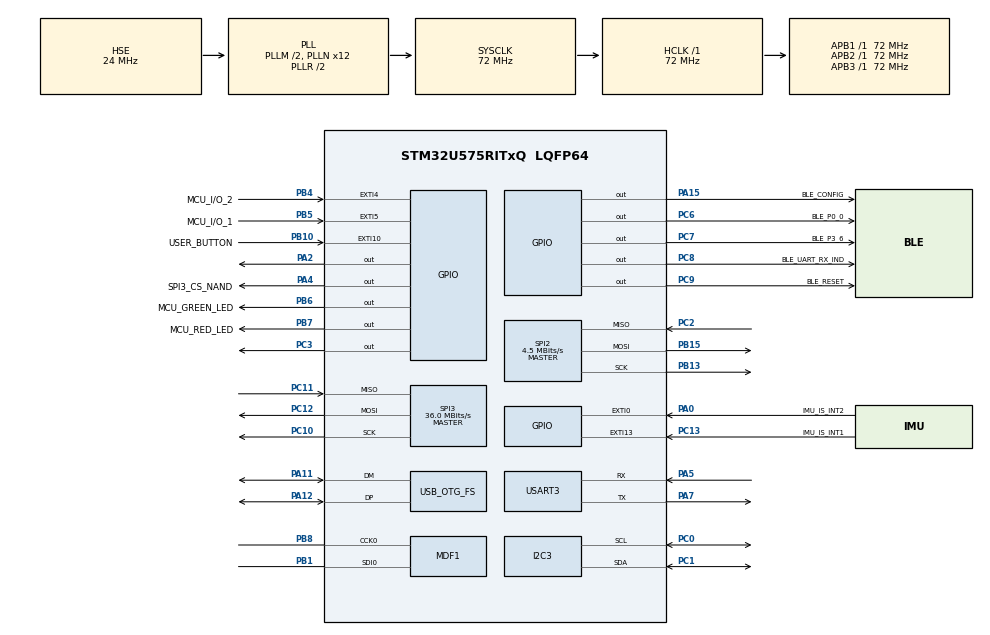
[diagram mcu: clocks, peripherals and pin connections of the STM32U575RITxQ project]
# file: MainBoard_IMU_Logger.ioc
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CORTEX_M33_NS.userName=CORTEX_M33
I2C3.Timing=0x10808DD3
MDF1.MDF_COMPARAM_ActivationClockTrigger=ENABLE
MDF1.MDF_COMPARAM_ActivationOutputClock=ENABLE
MDF1.MDF_COMPARAM_Divider=5
MDF1.MDF_COMPARAM_Pins=MDF_OUTPUT_CLOCK_ALL
MDF1.MDF_DFLT0_AcquisitionMode=MDF_MODE_SYNC_CONT
MDF1.MDF_DFLT0_CIC_Mode=MDF_ONE_FILTER_SINC5
MDF1.MDF_DFLT0_Decimation=16
MDF1.MDF_DFLT0_DiscardSamples=255
MDF1.MDF_DFLT0_Gain=1
MDF1.MDF_DFLT0_HighPassFilterActivation=ENABLE
MDF1.MDF_DFLT0_ReshapeFilterActivation=ENABLE
MDF1.MDF_SITF0_Mode_Display=MDF_SITF_NORMAL_SPI_MODE
MDF1.MDF_SITF0_Threshold=31
Mcu.Family=STM32U5
Mcu.Name=STM32U575RITxQ
Mcu.Package=LQFP64
NVIC.EXTI0_IRQn=true\:0\:0\:false\:false\:true\:true\:true\:true
NVIC.EXTI10_IRQn=true\:0\:0\:false\:false\:true\:true\:true\:true
NVIC.EXTI13_IRQn=true\:0\:0\:false\:false\:true\:true\:true\:true
NVIC.EXTI4_IRQn=true\:0\:0\:false\:false\:true\:true\:true\:true
NVIC.EXTI5_IRQn=true\:0\:0\:false\:false\:true\:true\:true\:true
NVIC.MDF1_FLT0_IRQn=true\:0\:0\:false\:false\:true\:true\:true\:true
NVIC.OTG_FS_IRQn=true\:0\:0\:false\:false\:true\:true\:true\:true
NVIC.PriorityGroup=NVIC_PRIORITYGROUP_4
NVIC.SPI2_IRQn=true\:0\:0\:false\:false\:true\:true\:true\:true
NVIC.SPI3_IRQn=true\:0\:0\:false\:false\:true\:true\:true\:true
NVIC.TIM2_IRQn=true\:2\:0\:true\:false\:true\:true\:true\:true
NVIC.USART3_IRQn=true\:0\:0\:false\:false\:true\:true\:true\:true
PA0.GPIO_Label=IMU_IS_INT2
PA0.Signal=GPXTI0
PA11.GPIO_Speed=GPIO_SPEED_FREQ_VERY_HIGH
PA11.Mode=Device_Only
PA11.Signal=USB_OTG_FS_DM
PA12.GPIO_Speed=GPIO_SPEED_FREQ_VERY_HIGH
PA12.Mode=Device_Only
PA12.Signal=USB_OTG_FS_DP
PA13\ (JTMS/SWDIO).Mode=Trace_Asynchronous_SW
PA13\ (JTMS/SWDIO).Signal=DEBUG_JTMS-SWDIO
PA14\ (JTCK/SWCLK).Mode=Trace_Asynchronous_SW
PA14\ (JTCK/SWCLK).Signal=DEBUG_JTCK-SWCLK
PA15\ (JTDI).GPIO_Label=BLE_CONFIG
PA15\ (JTDI).PinState=GPIO_PIN_SET
PA15\ (JTDI).Signal=GPIO_Output
PA2.Signal=GPIO_Output
PA4.GPIO_Label=SPI3_CS_NAND
PA4.Signal=GPIO_Output
PA5.Mode=Asynchronous
PA5.Signal=USART3_RX
PA7.Mode=Asynchronous
PA7.Signal=USART3_TX
PA9.Signal=USB_OTG_FS_VBUS
PB1.GPIO_Speed=GPIO_SPEED_FREQ_VERY_HIGH
PB1.Mode=MOD_MDF_SITF0_CCK0
PB1.Signal=MDF1_SDI0
PB10.GPIO_Label=USER_BUTTON
PB10.GPIO_ModeDefaultEXTI=GPIO_MODE_IT_RISING_FALLING
PB10.GPIO_PuPd=GPIO_PULLDOWN
PB10.Signal=GPXTI10
PB13.Mode=Full_Duplex_Master
PB13.Signal=SPI2_SCK
PB15.Mode=Full_Duplex_Master
PB15.Signal=SPI2_MOSI
PB3\ (JTDO/TRACESWO).Mode=Trace_Asynchronous_SW
PB3\ (JTDO/TRACESWO).Signal=DEBUG_JTDO-SWO
PB4\ (NJTRST).GPIO_Label=MCU_I/O_2
PB4\ (NJTRST).Signal=GPXTI4
PB5.GPIO_Label=MCU_I/O_1
PB5.Signal=GPXTI5
PB6.GPIO_Label=MCU_GREEN_LED
PB6.Signal=GPIO_Output
PB7.GPIO_Label=MCU_RED_LED
PB7.Signal=GPIO_Output
PB8.GPIO_FM8=SYSCFG_FASTMODEPLUS_PB8
PB8.GPIO_Speed=GPIO_SPEED_FREQ_VERY_HIGH
PB8.Mode=MOD_MDF_CCK0
PB8.Signal=MDF1_CCK0
PC0.Mode=I2C
PC0.Signal=I2C3_SCL
PC1.Mode=I2C
PC1.Signal=I2C3_SDA
PC10.Mode=Full_Duplex_Master
PC10.Signal=SPI3_SCK
PC11.Mode=Full_Duplex_Master
PC11.Signal=SPI3_MISO
PC12.Mode=Full_Duplex_Master
PC12.Signal=SPI3_MOSI
PC13.GPIO_Label=IMU_IS_INT1
PC13.Signal=GPXTI13
PC14-OSC32_IN\ (PC14).Mode=LSE-External-Oscillator
PC14-OSC32_IN\ (PC14).Signal=RCC_OSC32_IN
PC15-OSC32_OUT\ (PC15).Mode=LSE-External-Oscillator
PC15-OSC32_OUT\ (PC15).Signal=RCC_OSC32_OUT
PC2.Mode=Full_Duplex_Master
PC2.Signal=SPI2_MISO
PC3.Signal=GPIO_Output
PC6.GPIO_Label=BLE_P0_0
PC6.Signal=GPIO_Output
PC7.GPIO_Label=BLE_P3_6
PC7.Signal=GPIO_Output
PC8.GPIO_Label=BLE_UART_RX_IND
PC8.Signal=GPIO_Output
PC9.GPIO_Label=BLE_RESET
PC9.Signal=GPIO_Output
PH0-OSC_IN\ (PH0).Mode=HSE-External-Oscillator
PH0-OSC_IN\ (PH0).Signal=RCC_OSC_IN
PH1-OSC_OUT\ (PH1).Mode=HSE-External-Oscillator
PH1-OSC_OUT\ (PH1).Signal=RCC_OSC_OUT
ProjectManager.HeapSize=0x400
ProjectManager.StackSize=0x800
ProjectManager.TargetToolchain=CMake
RCC.ADCFreq_Value=16000000
RCC.AHBFreq_Value=72000000
RCC.APB1Freq_Value=72000000
RCC.APB1TimFreq_Value=72000000
RCC.APB2Freq_Value=72000000
RCC.APB2TimFreq_Value=72000000
RCC.APB3Freq_Value=72000000
RCC.CK48CLockSelection=RCC_CLK48CLKSOURCE_PLL1
RCC.CortexFreq_Value=72000000
RCC.EPOD_VALUE=24000000
RCC.HCLKFreq_Value=72000000
RCC.HSE_VALUE=24000000
RCC.HSI48_VALUE=48000000
RCC.HSI_VALUE=16000000
RCC.LSIDIV_VALUE=32000
RCC.MSIClockRange=RCC_MSIRANGE_0
RCC.MSI_VALUE=48000000
RCC.MdfClockSelection=RCC_MDF1CLKSOURCE_PLL3
RCC.PLL1Q=3
RCC.PLL2FRACN=0
RCC.PLL3FRACN=0
RCC.PLL3M=3
RCC.PLL3N=48
RCC.PLL3Q=25
RCC.PLL3Source=RCC_PLLSOURCE_HSE
RCC.PLLFRACN=0
RCC.PLLM=2
RCC.PLLN=12
RCC.PLLSourceVirtual=RCC_PLLSOURCE_HSE
RCC.SYSCLKFreq_VALUE=72000000
RCC.SYSCLKSource=RCC_SYSCLKSOURCE_PLLCLK
RCC.USBFreq_Value=48000000
RCC.VCOOutputFreq_Value=144000000
SPI2.BaudRatePrescaler=SPI_BAUDRATEPRESCALER_16
SPI2.CalculateBaudRate=4.5 MBits/s
SPI2.DataSize=SPI_DATASIZE_8BIT
SPI2.Direction=SPI_DIRECTION_2LINES
SPI2.Mode=SPI_MODE_MASTER
SPI2.VirtualType=VM_MASTER
SPI3.CalculateBaudRate=36.0 MBits/s
SPI3.Direction=SPI_DIRECTION_2LINES
SPI3.Mode=SPI_MODE_MASTER
SPI3.VirtualType=VM_MASTER
TIM2.PeriodNoDither=100-1
TIM2.Prescaler=7200-1
USART3.VirtualMode-Asynchronous=VM_ASYNC
USB_OTG_FS.VirtualMode=Device_Only
VP_ICACHE_VS_ENABLE_ICACHE_MEMORY.Mode=Memoryregions
VP_LPBAMQUEUE_VS_QUEUE.Mode=QUEUEMODE
VP_LPBAM_VS_SIG1.Mode=SmartRun
VP_LPBAM_VS_SIG4.Mode=LPDMA1
VP_MDF1_VS_MDF_DFLT0.Mode=MOD_MDF_DFLT0
VP_MEMORYMAP_VS_MEMORYMAP.Mode=CurAppReg
VP_PWR_VS_SECSignals.Mode=Security/Privilege
VP_TIM2_VS_ClockSourceINT.Mode=Internal
board=custom

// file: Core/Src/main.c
/* USER CODE BEGIN Header */
/**
  ******************************************************************************
  * @file           : main.c
  * @brief          : Main application file for MainBoard_IMU_Logger project.
  ******************************************************************************
  * @functionality  : This firmware implements a complete Data Logger for the on board IMU
  *                   and the AS7341 spectral light sensor.
  * @details        : The application operates using a State Machine triggered by a
  * single USER BUTTON. It performs three primary tasks:
  * 1. Real-time Acquisition: Reads Accelerometer/Gyroscope data from the LSM6DSO16IS
  *    via I2C at 100 Hz (TIM2), and full spectral filters plus mains flicker
  *    classification from the AS7341 at ~10 Hz (every 10th timer tick) on the
  *    same I2C bus (hi2c3).
  * 2. Wireless Transmission: Sends data packets via Bluetooth Low Energy (BLE)
  *    using the UART interface.
  * 3. Data Logging: Saves acquired data to NAND Flash memory.
  *
  * Saved data can be downloaded via a USB Virtual COM Port (VCP)
  * connection, also initiated by the USER BUTTON.
  *
  * @intended_use   : Starting template for Smart Wearables Course
  * exploring IMU/light sensor interfacing, BLE communication, and memory management.
  ******************************************************************************
  */
/* USER CODE END Header */
#include "main.h"

/* USER CODE BEGIN Includes */
#include "string.h"
#include "stdio.h"
#include "../../USB_Device/App/usb_device.h"
#include "SPI.h"
#include "SPI_NAND.h"
#include "Memory_operations.h"
#include "led_driver.h"
#include "imu_driver.h"
#include "bluetooth.h"
#include "as7341_driver.h"
#include "light_metrics_mcu.h"

/* USER CODE END Includes */

/* USER CODE BEGIN PD */

/* Light sensor is sampled every LIGHT_SUBSAMPLE IMU ticks (100 Hz / 10 = 10 Hz) */
#define LIGHT_SUBSAMPLE  10U

/* Interval (ms) between mains flicker classification updates in main loop. */
#define FLICKER_UPDATE_PERIOD_MS  2000U

/* USER CODE END PD */

I2C_HandleTypeDef hi2c3;

MDF_HandleTypeDef MdfHandle0;
MDF_FilterConfigTypeDef MdfFilterConfig0;

SPI_HandleTypeDef hspi2;
SPI_HandleTypeDef hspi3;

TIM_HandleTypeDef htim2;

UART_HandleTypeDef huart3;

PCD_HandleTypeDef hpcd_USB_OTG_FS;

/* USER CODE BEGIN PV */

// --- State Machine ---
static AppState current_state = STATE_IDLE;

// --- Global Flags ---
uint8_t usb_flag = 0;

// --- IMU data ---
static IMU_Data accelerometer_data;
static IMU_Data gyroscope_data;

uint8_t raw_accelerometer[6] = {0};
uint8_t raw_gyroscope[6]     = {0};

// --- Light sensor data ---
static AS7341_Data light_data;
static AS7341_Spectrum spectrum;        /* full spectral frame */

/*
 * raw_light layout (22 bytes):
 *   [0..15]  8 spectral filters F1..F8 (uint16 each, little-endian)
 *   [16..17] Clear channel   (uint16, little-endian; Clear from second SMUX pass)
 *   [18..19] NIR   channel   (uint16, little-endian; NIR   from second SMUX pass)
 *   [20..21] Mains freq      (uint16, little-endian: 0, 50 or 60 Hz equivalent)
 */
uint8_t raw_light[22] = {0};
static uint8_t light_tick = 0; /* subsample counter */

/* Latest mains flicker classification, updated periodically in main loop. */
static volatile uint16_t g_mains_hz = 0U;
static uint32_t g_last_flicker_update_ms = 0U;

/// ----- NAND FLASH variables ----- ///

uint8_t NAND_packet[4096] = {0};
uint16_t sample = 0;
uint16_t blocco_scritto = 0;
uint8_t pagina_scritta=0;
uint16_t b = 0;

read_address_t blocco;
column_address_t colonna = 0;

uint16_t bad_blocks[2048]={-1};
uint8_t bad_blocks2[2048]={0};

uint8_t data_letto[4096] = {0};
int exit_flag = 0;

// Timestamp variables //
Time_Struct timestamp;
uint16_t tim = 0;

/* USER CODE END PV */

void SystemClock_Config(void);
static void MX_GPIO_Init(void);
static void MX_ICACHE_Init(void);
static void MX_I2C3_Init(void);
static void MX_USART3_UART_Init(void);
static void MX_USB_OTG_FS_PCD_Init(void);
static void MX_MDF1_Init(void);
static void MX_TIM2_Init(void);
static void MX_SPI2_Init(void);
static void MX_SPI3_Init(void);

int main(void)
{

  /* MCU Configuration--------------------------------------------------------*/

  /* Reset of all peripherals, Initializes the Flash interface and the Systick. */
  HAL_Init();

  /* Configure the system clock */
  SystemClock_Config();

  /* Initialize all configured peripherals */
  MX_GPIO_Init();
  MX_ICACHE_Init();
  MX_I2C3_Init();
  MX_USART3_UART_Init();
  MX_USB_OTG_FS_PCD_Init();
  MX_MDF1_Init();
  MX_TIM2_Init();
  MX_SPI2_Init();
  MX_SPI3_Init();
  /* USER CODE BEGIN 2 */

  LED_On(LED_RED);

  BLE_Initialize();
  MX_USB_Device_Init();
  HAL_Delay(1000);

  spi_nand_init();
  find_bad_blocks(bad_blocks);

  if(IMU_Init() == 1) {
    IMU_ConfigAccelerometer(ACC_ODR_52HZ, ACC_FS_2G, 1);
    IMU_ConfigGyroscope(GYR_ODR_52HZ, GYR_FS_250DPS, 1);
  } else {
    LED_Toggle(LED_RED); HAL_Delay(500);
    LED_Toggle(LED_RED); HAL_Delay(500);
    LED_Toggle(LED_RED); HAL_Delay(500);
    LED_Toggle(LED_RED); HAL_Delay(500);
    LED_Toggle(LED_RED); HAL_Delay(500);
    LED_Toggle(LED_RED); HAL_Delay(500);
  }

  /* Initialize the AS7341 light sensor on the same I2C bus (hi2c3). */
  if (AS7341_Init() != 1) {
    /* Light sensor not found or failed: blink RED 3x quickly to warn,
     * but continue running (IMU logging still works). */
    for (uint8_t i = 0; i < 3; i++) {
      LED_Toggle(LED_RED); HAL_Delay(150);
      LED_Toggle(LED_RED); HAL_Delay(150);
    }
  }

  /* Reset MCU-side light exposure metrics accumulators. */
  LightMetrics_Reset();

  LED_Off(LED_RED);

  /* USER CODE END 2 */

  /* Infinite loop */
  while (1)
  {

    /* USER CODE BEGIN 3 */

	  switch(current_state)
	  {
	  	  case STATE_IDLE:
	  		if(!usb_flag)
		    {
	  			//MX_USB_Device_Init();
		    }
	  		else
	  		{
			   current_state = STATE_USB_CONNECTED;
			   LED_On(LED_GREEN);
		    }
	  		break;

	  	  case STATE_ACQUISITION:
            /*
             * Periodically refresh mains flicker classification in the
             * foreground. This avoids long blocking calls inside the
             * 100 Hz timer ISR while still providing reasonably fresh
             * classification for tagging light samples.
             */
            if ((HAL_GetTick() - g_last_flicker_update_ms) >= FLICKER_UPDATE_PERIOD_MS) {
                uint16_t new_mains = AS7341_DetectMainsHz();
                g_mains_hz = new_mains;  /* 16-bit, single store is atomic on Cortex-M33 */
                g_last_flicker_update_ms = HAL_GetTick();
            }
	  		break;

	  	  case STATE_USB_CONNECTED:
	  		break;

	  	  case STATE_DOWNLOAD:
	  		  read_memory_and_transmit();
			 current_state = STATE_USB_CONNECTED;
	  		 break;
	  }

  }
  /* USER CODE END 3 */
}

void SystemClock_Config(void)
{
  RCC_OscInitTypeDef RCC_OscInitStruct = {0};
  RCC_ClkInitTypeDef RCC_ClkInitStruct = {0};

  /** Configure the main internal regulator output voltage
  */
  if (HAL_PWREx_ControlVoltageScaling(PWR_REGULATOR_VOLTAGE_SCALE2) != HAL_OK)
  {
    Error_Handler();
  }

  /** Initializes the CPU, AHB and APB buses clocks
  */
  RCC_OscInitStruct.OscillatorType = RCC_OSCILLATORTYPE_HSE;
  RCC_OscInitStruct.HSEState = RCC_HSE_ON;
  RCC_OscInitStruct.PLL.PLLState = RCC_PLL_ON;
  RCC_OscInitStruct.PLL.PLLSource = RCC_PLLSOURCE_HSE;
  RCC_OscInitStruct.PLL.PLLMBOOST = RCC_PLLMBOOST_DIV2;
  RCC_OscInitStruct.PLL.PLLM = 2;
  RCC_OscInitStruct.PLL.PLLN = 12;
  RCC_OscInitStruct.PLL.PLLP = 2;
  RCC_OscInitStruct.PLL.PLLQ = 3;
  RCC_OscInitStruct.PLL.PLLR = 2;
  RCC_OscInitStruct.PLL.PLLRGE = RCC_PLLVCIRANGE_1;
  RCC_OscInitStruct.PLL.PLLFRACN = 0;
  if (HAL_RCC_OscConfig(&RCC_OscInitStruct) != HAL_OK)
  {
    Error_Handler();
  }

  /** Initializes the CPU, AHB and APB buses clocks
  */
  RCC_ClkInitStruct.ClockType = RCC_CLOCKTYPE_HCLK|RCC_CLOCKTYPE_SYSCLK
                              |RCC_CLOCKTYPE_PCLK1|RCC_CLOCKTYPE_PCLK2
                              |RCC_CLOCKTYPE_PCLK3;
  RCC_ClkInitStruct.SYSCLKSource = RCC_SYSCLKSOURCE_PLLCLK;
  RCC_ClkInitStruct.AHBCLKDivider = RCC_SYSCLK_DIV1;
  RCC_ClkInitStruct.APB1CLKDivider = RCC_HCLK_DIV1;
  RCC_ClkInitStruct.APB2CLKDivider = RCC_HCLK_DIV1;
  RCC_ClkInitStruct.APB3CLKDivider = RCC_HCLK_DIV1;

  if (HAL_RCC_ClockConfig(&RCC_ClkInitStruct, FLASH_LATENCY_2) != HAL_OK)
  {
    Error_Handler();
  }
}

static void MX_I2C3_Init(void)
{

  hi2c3.Instance = I2C3;
  hi2c3.Init.Timing = 0x10808DD3;
  hi2c3.Init.OwnAddress1 = 0;
  hi2c3.Init.AddressingMode = I2C_ADDRESSINGMODE_7BIT;
  hi2c3.Init.DualAddressMode = I2C_DUALADDRESS_DISABLE;
  hi2c3.Init.OwnAddress2 = 0;
  hi2c3.Init.OwnAddress2Masks = I2C_OA2_NOMASK;
  hi2c3.Init.GeneralCallMode = I2C_GENERALCALL_DISABLE;
  hi2c3.Init.NoStretchMode = I2C_NOSTRETCH_DISABLE;
  if (HAL_I2C_Init(&hi2c3) != HAL_OK)
  {
    Error_Handler();
  }

  /** Configure Analogue filter
  */
  if (HAL_I2CEx_ConfigAnalogFilter(&hi2c3, I2C_ANALOGFILTER_ENABLE) != HAL_OK)
  {
    Error_Handler();
  }

  /** Configure Digital filter
  */
  if (HAL_I2CEx_ConfigDigitalFilter(&hi2c3, 0) != HAL_OK)
  {
    Error_Handler();
  }

}

static void MX_ICACHE_Init(void)
{

}

static void MX_MDF1_Init(void)
{

  /**
    MdfHandle0 structure initialization and HAL_MDF_Init function call
  */
  MdfHandle0.Instance = MDF1_Filter0;
  MdfHandle0.Init.CommonParam.InterleavedFilters = 0;
  MdfHandle0.Init.CommonParam.ProcClockDivider = 1;
  MdfHandle0.Init.CommonParam.OutputClock.Activation = ENABLE;
  MdfHandle0.Init.CommonParam.OutputClock.Pins = MDF_OUTPUT_CLOCK_ALL;
  MdfHandle0.Init.CommonParam.OutputClock.Divider = 5;
  MdfHandle0.Init.CommonParam.OutputClock.Trigger.Activation = ENABLE;
  MdfHandle0.Init.CommonParam.OutputClock.Trigger.Source = MDF_CLOCK_TRIG_TRGO;
  MdfHandle0.Init.CommonParam.OutputClock.Trigger.Edge = MDF_CLOCK_TRIG_FALLING_EDGE;
  MdfHandle0.Init.SerialInterface.Activation = ENABLE;
  MdfHandle0.Init.SerialInterface.Mode = MDF_SITF_NORMAL_SPI_MODE;
  MdfHandle0.Init.SerialInterface.ClockSource = MDF_SITF_CCK0_SOURCE;
  MdfHandle0.Init.SerialInterface.Threshold = 31;
  MdfHandle0.Init.FilterBistream = MDF_BITSTREAM0_RISING;
  if (HAL_MDF_Init(&MdfHandle0) != HAL_OK)
  {
    Error_Handler();
  }

  /**
    MdfFilterConfig0, MdfOldConfig0 and/or MdfScdConfig0 structures initialization

    WARNING : only structures are filled, no specific init function call for filter
  */
  MdfFilterConfig0.DataSource = MDF_DATA_SOURCE_BSMX;
  MdfFilterConfig0.Delay = 0;
  MdfFilterConfig0.CicMode = MDF_ONE_FILTER_SINC5;
  MdfFilterConfig0.DecimationRatio = 16;
  MdfFilterConfig0.Offset = 0;
  MdfFilterConfig0.Gain = 1;
  MdfFilterConfig0.ReshapeFilter.Activation = ENABLE;
  MdfFilterConfig0.ReshapeFilter.DecimationRatio = MDF_RSF_DECIMATION_RATIO_4;
  MdfFilterConfig0.HighPassFilter.Activation = ENABLE;
  MdfFilterConfig0.HighPassFilter.CutOffFrequency = MDF_HPF_CUTOFF_0_000625FPCM;
  MdfFilterConfig0.Integrator.Activation = DISABLE;
  MdfFilterConfig0.SoundActivity.Activation = DISABLE;
  MdfFilterConfig0.AcquisitionMode = MDF_MODE_SYNC_CONT;
  MdfFilterConfig0.FifoThreshold = MDF_FIFO_THRESHOLD_NOT_EMPTY;
  MdfFilterConfig0.DiscardSamples = 255;
  MdfFilterConfig0.Trigger.Source = MDF_CLOCK_TRIG_TRGO;
  MdfFilterConfig0.Trigger.Edge = MDF_FILTER_TRIG_RISING_EDGE;

}

static void MX_SPI2_Init(void)
{

  SPI_AutonomousModeConfTypeDef HAL_SPI_AutonomousMode_Cfg_Struct = {0};

  /* SPI2 parameter configuration*/
  hspi2.Instance = SPI2;
  hspi2.Init.Mode = SPI_MODE_MASTER;
  hspi2.Init.Direction = SPI_DIRECTION_2LINES;
  hspi2.Init.DataSize = SPI_DATASIZE_8BIT;
  hspi2.Init.CLKPolarity = SPI_POLARITY_LOW;
  hspi2.Init.CLKPhase = SPI_PHASE_1EDGE;
  hspi2.Init.NSS = SPI_NSS_SOFT;
  hspi2.Init.BaudRatePrescaler = SPI_BAUDRATEPRESCALER_16;
  hspi2.Init.FirstBit = SPI_FIRSTBIT_MSB;
  hspi2.Init.TIMode = SPI_TIMODE_DISABLE;
  hspi2.Init.CRCCalculation = SPI_CRCCALCULATION_DISABLE;
  hspi2.Init.CRCPolynomial = 0x7;
  hspi2.Init.NSSPMode = SPI_NSS_PULSE_ENABLE;
  hspi2.Init.NSSPolarity = SPI_NSS_POLARITY_LOW;
  hspi2.Init.FifoThreshold = SPI_FIFO_THRESHOLD_01DATA;
  hspi2.Init.MasterSSIdleness = SPI_MASTER_SS_IDLENESS_00CYCLE;
  hspi2.Init.MasterInterDataIdleness = SPI_MASTER_INTERDATA_IDLENESS_00CYCLE;
  hspi2.Init.MasterReceiverAutoSusp = SPI_MASTER_RX_AUTOSUSP_DISABLE;
  hspi2.Init.MasterKeepIOState = SPI_MASTER_KEEP_IO_STATE_DISABLE;
  hspi2.Init.IOSwap = SPI_IO_SWAP_DISABLE;
  hspi2.Init.ReadyMasterManagement = SPI_RDY_MASTER_MANAGEMENT_INTERNALLY;
  hspi2.Init.ReadyPolarity = SPI_RDY_POLARITY_HIGH;
  if (HAL_SPI_Init(&hspi2) != HAL_OK)
  {
    Error_Handler();
  }
  HAL_SPI_AutonomousMode_Cfg_Struct.TriggerState = SPI_AUTO_MODE_DISABLE;
  HAL_SPI_AutonomousMode_Cfg_Struct.TriggerSelection = SPI_GRP1_GPDMA_CH0_TCF_TRG;
  HAL_SPI_AutonomousMode_Cfg_Struct.TriggerPolarity = SPI_TRIG_POLARITY_RISING;
  if (HAL_SPIEx_SetConfigAutonomousMode(&hspi2, &HAL_SPI_AutonomousMode_Cfg_Struct) != HAL_OK)
  {
    Error_Handler();
  }

}

static void MX_SPI3_Init(void)
{

  SPI_AutonomousModeConfTypeDef HAL_SPI_AutonomousMode_Cfg_Struct = {0};

  /* SPI3 parameter configuration*/
  hspi3.Instance = SPI3;
  hspi3.Init.Mode = SPI_MODE_MASTER;
  hspi3.Init.Direction = SPI_DIRECTION_2LINES;
  hspi3.Init.DataSize = SPI_DATASIZE_8BIT;
  hspi3.Init.CLKPolarity = SPI_POLARITY_LOW;
  hspi3.Init.CLKPhase = SPI_PHASE_1EDGE;
  hspi3.Init.NSS = SPI_NSS_SOFT;
  hspi3.Init.BaudRatePrescaler = SPI_BAUDRATEPRESCALER_2;
  hspi3.Init.FirstBit = SPI_FIRSTBIT_MSB;
  hspi3.Init.TIMode = SPI_TIMODE_DISABLE;
  hspi3.Init.CRCCalculation = SPI_CRCCALCULATION_DISABLE;
  hspi3.Init.CRCPolynomial = 0x7;
  hspi3.Init.NSSPMode = SPI_NSS_PULSE_ENABLE;
  hspi3.Init.NSSPolarity = SPI_NSS_POLARITY_LOW;
  hspi3.Init.FifoThreshold = SPI_FIFO_THRESHOLD_01DATA;
  hspi3.Init.MasterSSIdleness = SPI_MASTER_SS_IDLENESS_00CYCLE;
  hspi3.Init.MasterInterDataIdleness = SPI_MASTER_INTERDATA_IDLENESS_00CYCLE;
  hspi3.Init.MasterReceiverAutoSusp = SPI_MASTER_RX_AUTOSUSP_DISABLE;
  hspi3.Init.MasterKeepIOState = SPI_MASTER_KEEP_IO_STATE_DISABLE;
  hspi3.Init.IOSwap = SPI_IO_SWAP_DISABLE;
  hspi3.Init.ReadyMasterManagement = SPI_RDY_MASTER_MANAGEMENT_INTERNALLY;
  hspi3.Init.ReadyPolarity = SPI_RDY_POLARITY_HIGH;
  if (HAL_SPI_Init(&hspi3) != HAL_OK)
  {
    Error_Handler();
  }
  HAL_SPI_AutonomousMode_Cfg_Struct.TriggerState = SPI_AUTO_MODE_DISABLE;
  HAL_SPI_AutonomousMode_Cfg_Struct.TriggerSelection = SPI_GRP2_LPDMA_CH0_TCF_TRG;
  HAL_SPI_AutonomousMode_Cfg_Struct.TriggerPolarity = SPI_TRIG_POLARITY_RISING;
  if (HAL_SPIEx_SetConfigAutonomousMode(&hspi3, &HAL_SPI_AutonomousMode_Cfg_Struct) != HAL_OK)
  {
    Error_Handler();
  }

}

static void MX_TIM2_Init(void)
{

  TIM_ClockConfigTypeDef sClockSourceConfig = {0};
  TIM_MasterConfigTypeDef sMasterConfig = {0};

  htim2.Instance = TIM2;
  htim2.Init.Prescaler = 7200-1;
  htim2.Init.CounterMode = TIM_COUNTERMODE_UP;
  htim2.Init.Period = 99;
  htim2.Init.ClockDivision = TIM_CLOCKDIVISION_DIV1;
  htim2.Init.AutoReloadPreload = TIM_AUTORELOAD_PRELOAD_DISABLE;
  if (HAL_TIM_Base_Init(&htim2) != HAL_OK)
  {
    Error_Handler();
  }
  sClockSourceConfig.ClockSource = TIM_CLOCKSOURCE_INTERNAL;
  if (HAL_TIM_ConfigClockSource(&htim2, &sClockSourceConfig) != HAL_OK)
  {
    Error_Handler();
  }
  sMasterConfig.MasterOutputTrigger = TIM_TRGO_RESET;
  sMasterConfig.MasterSlaveMode = TIM_MASTERSLAVEMODE_DISABLE;
  if (HAL_TIMEx_MasterConfigSynchronization(&htim2, &sMasterConfig) != HAL_OK)
  {
    Error_Handler();
  }

}

static void MX_USART3_UART_Init(void)
{

  huart3.Instance = USART3;
  huart3.Init.BaudRate = 115200;
  huart3.Init.WordLength = UART_WORDLENGTH_8B;
  huart3.Init.StopBits = UART_STOPBITS_1;
  huart3.Init.Parity = UART_PARITY_NONE;
  huart3.Init.Mode = UART_MODE_TX_RX;
  huart3.Init.HwFlowCtl = UART_HWCONTROL_NONE;
  huart3.Init.OverSampling = UART_OVERSAMPLING_16;
  huart3.Init.OneBitSampling = UART_ONE_BIT_SAMPLE_DISABLE;
  huart3.Init.ClockPrescaler = UART_PRESCALER_DIV1;
  huart3.AdvancedInit.AdvFeatureInit = UART_ADVFEATURE_NO_INIT;
  if (HAL_UART_Init(&huart3) != HAL_OK)
  {
    Error_Handler();
  }
  if (HAL_UARTEx_SetTxFifoThreshold(&huart3, UART_TXFIFO_THRESHOLD_1_8) != HAL_OK)
  {
    Error_Handler();
  }
  if (HAL_UARTEx_SetRxFifoThreshold(&huart3, UART_RXFIFO_THRESHOLD_1_8) != HAL_OK)
  {
    Error_Handler();
  }
  if (HAL_UARTEx_DisableFifoMode(&huart3) != HAL_OK)
  {
    Error_Handler();
  }

}

static void MX_USB_OTG_FS_PCD_Init(void)
{

  hpcd_USB_OTG_FS.Instance = USB_OTG_FS;
  hpcd_USB_OTG_FS.Init.dev_endpoints = 6;
  hpcd_USB_OTG_FS.Init.speed = PCD_SPEED_FULL;
  hpcd_USB_OTG_FS.Init.phy_itface = PCD_PHY_EMBEDDED;
  hpcd_USB_OTG_FS.Init.Sof_enable = DISABLE;
  hpcd_USB_OTG_FS.Init.low_power_enable = DISABLE;
  hpcd_USB_OTG_FS.Init.lpm_enable = DISABLE;
  hpcd_USB_OTG_FS.Init.battery_charging_enable = DISABLE;
  hpcd_USB_OTG_FS.Init.use_dedicated_ep1 = DISABLE;
  hpcd_USB_OTG_FS.Init.vbus_sensing_enable = DISABLE;
  hpcd_USB_OTG_FS.Init.dma_enable = DISABLE;
  if (HAL_PCD_Init(&hpcd_USB_OTG_FS) != HAL_OK)
  {
    Error_Handler();
  }

}

static void MX_GPIO_Init(void)
{
  GPIO_InitTypeDef GPIO_InitStruct = {0};

  /* GPIO Ports Clock Enable */
  __HAL_RCC_GPIOC_CLK_ENABLE();
  __HAL_RCC_GPIOH_CLK_ENABLE();
  __HAL_RCC_GPIOA_CLK_ENABLE();
  __HAL_RCC_GPIOB_CLK_ENABLE();

  /*Configure GPIO pin Output Level */
  HAL_GPIO_WritePin(GPIOC, GPIO_PIN_3|BLE_P0_0_Pin|BLE_P3_6_Pin|BLE_UART_RX_IND_Pin
                          |BLE_RESET_Pin, GPIO_PIN_RESET);

  /*Configure GPIO pin Output Level */
  HAL_GPIO_WritePin(GPIOA, GPIO_PIN_2|SPI3_CS_NAND_Pin, GPIO_PIN_RESET);

  /*Configure GPIO pin Output Level */
  HAL_GPIO_WritePin(BLE_CONFIG_GPIO_Port, BLE_CONFIG_Pin, GPIO_PIN_SET);

  /*Configure GPIO pin Output Level */
  HAL_GPIO_WritePin(GPIOB, MCU_GREEN_LED_Pin|MCU_RED_LED_Pin, GPIO_PIN_RESET);

  /*Configure GPIO pin : IMU_IS_INT1_Pin */
  GPIO_InitStruct.Pin = IMU_IS_INT1_Pin;
  GPIO_InitStruct.Mode = GPIO_MODE_IT_RISING;
  GPIO_InitStruct.Pull = GPIO_NOPULL;
  HAL_GPIO_Init(IMU_IS_INT1_GPIO_Port, &GPIO_InitStruct);

  /*Configure GPIO pins : PC3 BLE_P0_0_Pin BLE_P3_6_Pin BLE_UART_RX_IND_Pin
                           BLE_RESET_Pin */
  GPIO_InitStruct.Pin = GPIO_PIN_3|BLE_P0_0_Pin|BLE_P3_6_Pin|BLE_UART_RX_IND_Pin
                          |BLE_RESET_Pin;
  GPIO_InitStruct.Mode = GPIO_MODE_OUTPUT_PP;
  GPIO_InitStruct.Pull = GPIO_NOPULL;
  GPIO_InitStruct.Speed = GPIO_SPEED_FREQ_LOW;
  HAL_GPIO_Init(GPIOC, &GPIO_InitStruct);

  /*Configure GPIO pin : IMU_IS_INT2_Pin */
  GPIO_InitStruct.Pin = IMU_IS_INT2_Pin;
  GPIO_InitStruct.Mode = GPIO_MODE_IT_RISING;
  GPIO_InitStruct.Pull = GPIO_NOPULL;
  HAL_GPIO_Init(IMU_IS_INT2_GPIO_Port, &GPIO_InitStruct);

  /*Configure GPIO pins : PA2 SPI3_CS_NAND_Pin BLE_CONFIG_Pin */
  GPIO_InitStruct.Pin = GPIO_PIN_2|SPI3_CS_NAND_Pin|BLE_CONFIG_Pin;
  GPIO_InitStruct.Mode = GPIO_MODE_OUTPUT_PP;
  GPIO_InitStruct.Pull = GPIO_NOPULL;
  GPIO_InitStruct.Speed = GPIO_SPEED_FREQ_LOW;
  HAL_GPIO_Init(GPIOA, &GPIO_InitStruct);

  /*Configure GPIO pin : USER_BUTTON_Pin */
  GPIO_InitStruct.Pin = USER_BUTTON_Pin;
  GPIO_InitStruct.Mode = GPIO_MODE_IT_RISING_FALLING;
  GPIO_InitStruct.Pull = GPIO_PULLDOWN;
  HAL_GPIO_Init(USER_BUTTON_GPIO_Port, &GPIO_InitStruct);

  /*Configure GPIO pins : MCU_I_O_2_Pin MCU_I_O_1_Pin */
  GPIO_InitStruct.Pin = MCU_I_O_2_Pin|MCU_I_O_1_Pin;
  GPIO_InitStruct.Mode = GPIO_MODE_IT_RISING;
  GPIO_InitStruct.Pull = GPIO_NOPULL;
  HAL_GPIO_Init(GPIOB, &GPIO_InitStruct);

  /*Configure GPIO pins : MCU_GREEN_LED_Pin MCU_RED_LED_Pin */
  GPIO_InitStruct.Pin = MCU_GREEN_LED_Pin|MCU_RED_LED_Pin;
  GPIO_InitStruct.Mode = GPIO_MODE_OUTPUT_PP;
  GPIO_InitStruct.Pull = GPIO_NOPULL;
  GPIO_InitStruct.Speed = GPIO_SPEED_FREQ_LOW;
  HAL_GPIO_Init(GPIOB, &GPIO_InitStruct);

  /* EXTI interrupt init*/
  HAL_NVIC_SetPriority(EXTI0_IRQn, 0, 0);
  HAL_NVIC_EnableIRQ(EXTI0_IRQn);

  HAL_NVIC_SetPriority(EXTI4_IRQn, 0, 0);
  HAL_NVIC_EnableIRQ(EXTI4_IRQn);

  HAL_NVIC_SetPriority(EXTI5_IRQn, 0, 0);
  HAL_NVIC_EnableIRQ(EXTI5_IRQn);

  HAL_NVIC_SetPriority(EXTI10_IRQn, 0, 0);
  HAL_NVIC_EnableIRQ(EXTI10_IRQn);

  HAL_NVIC_SetPriority(EXTI13_IRQn, 0, 0);
  HAL_NVIC_EnableIRQ(EXTI13_IRQn);

}

/* USER CODE BEGIN 4 */
/**
  * @brief  TIM2 period elapsed callback — 100 Hz IMU + 10 Hz light sensor.
  *
  * The IMU is read on every tick (100 Hz).
  * The AS7341 is read every LIGHT_SUBSAMPLE ticks (10 Hz) because its
  * integration time (~18 ms) is longer than one IMU tick (10 ms).
  * Between light reads, the previous raw_light[] value is reused in the
  * NAND packet so every record is the same fixed size (BYTES_PER_SAMPLE).
  */
void HAL_TIM_PeriodElapsedCallback(TIM_HandleTypeDef *htim)
{
	if(htim == &htim2){

        /* --- Read IMU (always) --- */
        IMU_ReadAccelerometerData(&accelerometer_data, raw_accelerometer);
        IMU_ReadGyroscopeData(&gyroscope_data, raw_gyroscope);

        /* --- Read light sensor (every LIGHT_SUBSAMPLE ticks = 10 Hz) --- */
        light_tick++;
        if (light_tick >= LIGHT_SUBSAMPLE) {
            light_tick = 0;

            /* Full spectrum: 12 channels (F1–F8, Clear, NIR) */
            if (AS7341_ReadFullSpectrum(&spectrum)) {
                /*
                 * Canonical mapping in AS7341_Spectrum (see as7341_driver.c):
                 *   ch[0]  → F1
                 *   ch[1]  → F2
                 *   ch[2]  → F3
                 *   ch[3]  → F4
                 *   ch[4]  → Clear (pass 1)
                 *   ch[5]  → NIR   (pass 1)
                 *   ch[6]  → F5
                 *   ch[7]  → F6
                 *   ch[8]  → F7
                 *   ch[9]  → F8
                 *   ch[10] → Clear (pass 2)
                 *   ch[11] → NIR   (pass 2)
                 */

                /* Pack F1..F4 from ch[0..3]. */
                for (uint8_t i = 0; i < 4; i++) {
                    uint16_t v = spectrum.ch[i];
                    raw_light[2U * i]     = (uint8_t)(v & 0xFFU);
                    raw_light[2U * i + 1] = (uint8_t)(v >> 8);
                }

                /* Pack F5..F8 from ch[6..9] into raw_light[8..15]. */
                for (uint8_t i = 0; i < 4; i++) {
                    uint16_t v = spectrum.ch[6U + i];
                    uint8_t  idx = 4U + i;  /* F5..F8 occupy raw_light indices 4..7 */
                    raw_light[2U * idx]     = (uint8_t)(v & 0xFFU);
                    raw_light[2U * idx + 1] = (uint8_t)(v >> 8);
                }

                /* Use Clear/NIR from second SMUX pass so they are the last
                 * channels in the logged frame. */
                uint16_t clear2 = spectrum.ch[10];
                uint16_t nir2   = spectrum.ch[11];
                raw_light[16] = (uint8_t)(clear2 & 0xFFU);
                raw_light[17] = (uint8_t)(clear2 >> 8);
                raw_light[18] = (uint8_t)(nir2 & 0xFFU);
                raw_light[19] = (uint8_t)(nir2 >> 8);

                /* Use latest mains classification captured in the main loop. */
                uint16_t mains_hz = g_mains_hz;
                raw_light[20] = (uint8_t)(mains_hz & 0xFFU);
                raw_light[21] = (uint8_t)(mains_hz >> 8);

                /* Update MCU-side exposure metrics for this light sample,
                 * using flicker classification to split artificial vs natural
                 * and to gate circadian dose. */
                LightMetrics_Update(&spectrum, &timestamp, mains_hz);
            }
        }

        /* --- BLE transmission (IMU only, unchanged for now) --- */
        BLE_SendPacket(DATA_TYPE_IMU_ACCELERATION, raw_accelerometer);
        BLE_SendPacket(DATA_TYPE_IMU_GYROSCOPE, raw_gyroscope);

        /* --- Timestamp @ 100 Hz --- */
        timestamp.sss = tim * 10;
		if(timestamp.sss == 1000) {
			timestamp.ss++;
			timestamp.sss = 0;
			tim = 0;
			if (timestamp.ss == 60){
				timestamp.mm++;
				timestamp.ss = 0;
				if (timestamp.mm == 60){
					timestamp.hh++;
					timestamp.mm = 0;
				}
			}
		}
		tim++;

		/* --- Pack and save to NAND (IMU + light) --- */
		write_packet(sample, timestamp, raw_accelerometer, raw_gyroscope, raw_light, NAND_packet);
		sample++;
        write_memory();
	}
}

void HAL_GPIO_EXTI_Rising_Callback(uint16_t GPIO_Pin)
{
	if(GPIO_Pin == USER_BUTTON_Pin)
	{
		switch(current_state) {
			case STATE_IDLE:
				erase_memory();
				current_state = STATE_ACQUISITION;
				HAL_TIM_Base_Start_IT(&htim2);
				LED_On(LED_GREEN);
			break;
			case STATE_ACQUISITION:
				current_state = STATE_IDLE;
				HAL_TIM_Base_Stop_IT(&htim2);
				LED_Off(LED_GREEN);
				break;
			case STATE_USB_CONNECTED:
				exit_flag = 0;
				current_state = STATE_DOWNLOAD;
				break;
			default:
				break;
		}
	}
}

void HAL_GPIO_EXTI_Falling_Callback(uint16_t GPIO_Pin)
{
	if(GPIO_Pin == USER_BUTTON_Pin)
	{
	}
}

/* USER CODE END 4 */

void Error_Handler(void)
{
  __disable_irq();
  while (1)
  {
  }
}
